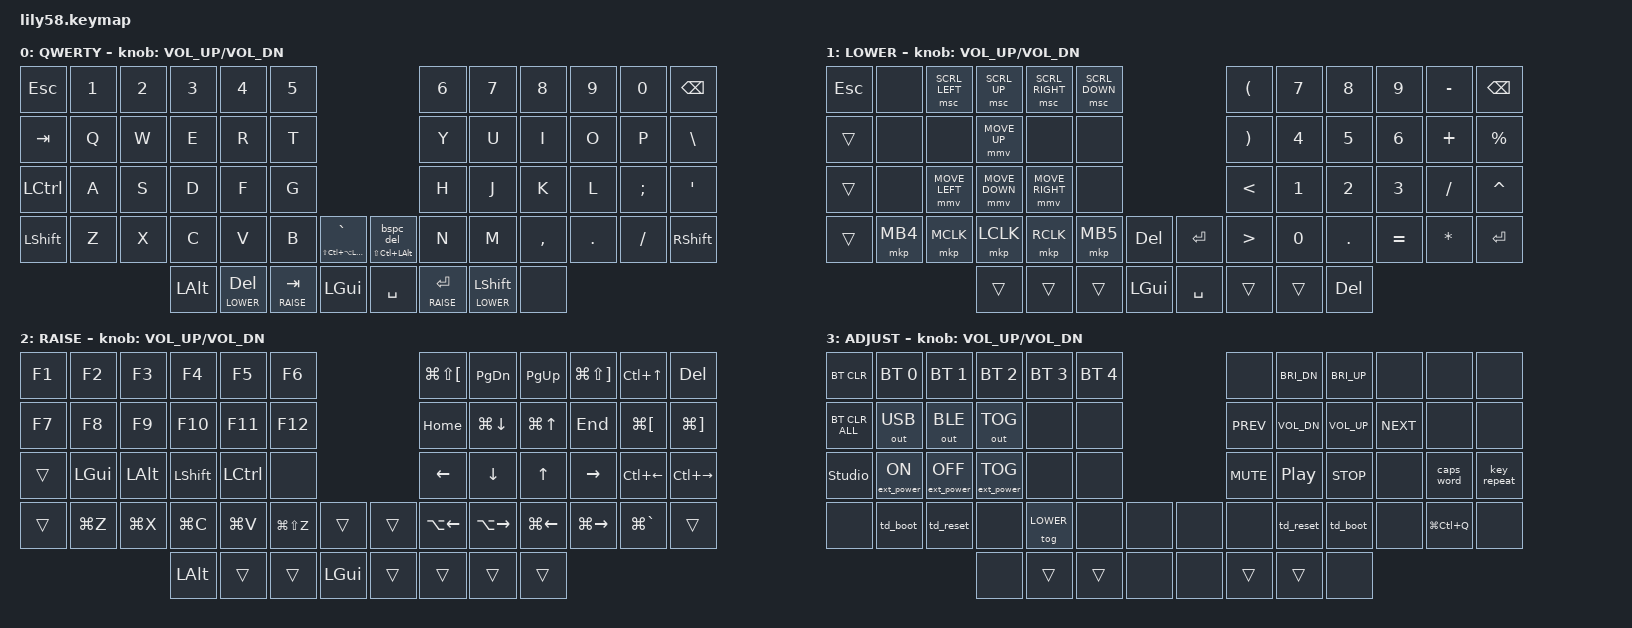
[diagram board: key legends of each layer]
/*
 * Lily58 Pro / nice!nano v2 — ZMK v0.3
 * 4 layers: QWERTY / LOWER (mouse + numpad) / RAISE (F-keys + nav) / ADJUST (tri-layer)
 * macOS oriented, coding + terminal focused.
 *
 * Shared by both halves. config/lily58_left.keymap and config/lily58_right.keymap
 * #include this file and then override &kscan0 for the flipped controller mount.
 * That override swaps GPIO *pads* positionally, so the logical matrix (and every
 * key position below) is unchanged from a normally-mounted board.
 *
 * Thumbs: lower on 51 + 56, raise on 52 + 55, so either hand reaches either
 * layer and adjust is an adjacent two-key roll. 53 (cmd) and 54 (space) stay
 * bare on purpose: a mod-tap on cmd misfires on every aborted cmd-tab, and a
 * hold-tap on space delays the most frequent key on the board.
 *
 * Key positions (used by combos):
 *   left   0..5   12..17  24..29  36..41  42(inner)  50..53(thumbs)
 *   right  6..11  18..23  30..35  43(inner) 44..49    54..57(thumbs)
 */

#include <behaviors.dtsi>
#include <dt-bindings/zmk/keys.h>
#include <dt-bindings/zmk/bt.h>
#include <dt-bindings/zmk/outputs.h>
#include <dt-bindings/zmk/ext_power.h>

/* mouse speed — must be defined BEFORE the pointing include */
#define ZMK_POINTING_DEFAULT_MOVE_VAL 1200
#define ZMK_POINTING_DEFAULT_SCRL_VAL 20
#include <dt-bindings/zmk/pointing.h>

#define QWERTY 0
#define LOWER  1
#define RAISE  2
#define ADJUST 3

#define HYPER LS(LC(LA(LGUI)))
#define MEH   LS(LC(LALT))

/ {
    behaviors {
        /* 3 taps to reflash / reset — stops a fat finger nuking the session */
        td_boot: tap_dance_bootloader {
            compatible = "zmk,behavior-tap-dance";
            #binding-cells = <0>;
            tapping-term-ms = <300>;
            bindings = <&none>, <&none>, <&bootloader>;
        };

        td_reset: tap_dance_reset {
            compatible = "zmk,behavior-tap-dance";
            #binding-cells = <0>;
            tapping-term-ms = <300>;
            bindings = <&none>, <&none>, <&sys_reset>;
        };

        /* layer-tap with a quick-tap window so double-tap-and-hold repeats the tap */
        lt_tuned: layer_tap_tuned {
            compatible = "zmk,behavior-hold-tap";
            #binding-cells = <2>;
            flavor = "balanced";
            tapping-term-ms = <200>;
            quick-tap-ms = <175>;
            bindings = <&mo>, <&kp>;
        };

        /* same, but the tap is a one-shot modifier instead of a keycode.
           &sk is also a real hold, so holding it shifts normally. */
        lt_sticky: layer_tap_sticky {
            compatible = "zmk,behavior-hold-tap";
            #binding-cells = <2>;
            flavor = "balanced";
            tapping-term-ms = <200>;
            quick-tap-ms = <175>;
            bindings = <&mo>, <&sk>;
        };

        /* backspace, or forward-delete when shifted. macOS has no shift+bksp
           binding of its own, so this is the only way to get del off a thumb.
           No keep-mods, so the triggering shift is masked out of the report
           and the host sees a clean DEL. */
        bspc_del: backspace_delete {
            compatible = "zmk,behavior-mod-morph";
            #binding-cells = <0>;
            bindings = <&kp BSPC>, <&kp DEL>;
            mods = <(MOD_LSFT|MOD_RSFT)>;
        };

        /* mod-tap whose tap is the bspc/del morph, so the right inner key
           keeps shift+tap -> DEL. tap-preferred: same-hand key, so the hold
           only fires after the full tapping term. */
        mt_bspc: mod_tap_backspace {
            compatible = "zmk,behavior-hold-tap";
            #binding-cells = <2>;
            flavor = "tap-preferred";
            tapping-term-ms = <200>;
            quick-tap-ms = <175>;
            bindings = <&kp>, <&bspc_del>;
        };
    };

    conditional_layers {
        compatible = "zmk,conditional-layers";
        tri_layer {
            if-layers = <LOWER RAISE>;
            then-layer = <ADJUST>;
        };
    };

    combos {
        compatible = "zmk,combos";

        /* JK -> esc (vim reflex) */
        combo_esc {
            timeout-ms = <45>;
            require-prior-idle-ms = <125>;
            key-positions = <31 32>;
            bindings = <&kp ESC>;
            layers = <QWERTY>;
        };

        /* KL -> -  (shift gives _) */
        combo_minus {
            timeout-ms = <45>;
            require-prior-idle-ms = <125>;
            key-positions = <32 33>;
            bindings = <&kp MINUS>;
            layers = <QWERTY>;
        };

        /* L; -> =  (shift gives +) */
        combo_equal {
            timeout-ms = <45>;
            require-prior-idle-ms = <125>;
            key-positions = <33 34>;
            bindings = <&kp EQUAL>;
            layers = <QWERTY>;
        };

        /* --- bracket combos (adjacent keys, top letter row) ---
           Since E R T Y U I are now plain &kp, these combos are the ONLY way to
           reach ( ) [ ] { } outside the number row.
           Shift is passed through by &kp, so shifted [ ] give { } for free.

           Top-row positions:  12 13 14 15 16 17 | 18 19 20 21 22 23
                              TAB  Q  W  E  R  T |  Y  U  I  O  P  \
           Pairs mirror across the split: 16+17 (RT) mirrors 18+19 (YU),
           15+16 (ER) mirrors 19+20 (UI). */

        /* UI -> [  (shift gives {) */
        combo_lbkt {
            timeout-ms = <45>;
            require-prior-idle-ms = <125>;
            key-positions = <19 20>;
            bindings = <&kp LBKT>;
            layers = <QWERTY>;
        };

        /* OP -> ]  (shift gives }) */
        combo_rbkt {
            timeout-ms = <45>;
            require-prior-idle-ms = <125>;
            key-positions = <21 22>;
            bindings = <&kp RBKT>;
            layers = <QWERTY>;
        };

        /* RT -> ( */
        combo_lpar {
            timeout-ms = <45>;
            require-prior-idle-ms = <125>;
            key-positions = <16 17>;
            bindings = <&kp LPAR>;
            layers = <QWERTY>;
        };

        /* YU -> ) */
        combo_rpar {
            timeout-ms = <45>;
            require-prior-idle-ms = <125>;
            key-positions = <18 19>;
            bindings = <&kp RPAR>;
            layers = <QWERTY>;
        };

        /* ,. -> delete previous word */
        combo_del_word {
            timeout-ms = <45>;
            require-prior-idle-ms = <125>;
            key-positions = <46 47>;
            bindings = <&kp LA(BSPC)>;
            layers = <QWERTY>;
        };

        /* CV -> adjust layer without the two-thumb chord */
        combo_adjust {
            timeout-ms = <50>;
            key-positions = <39 40>;
            bindings = <&mo ADJUST>;
            layers = <QWERTY>;
        };

        /* both shifts -> caps word (SCREAMING_SNAKE_CASE) */
        combo_caps_word {
            timeout-ms = <60>;
            key-positions = <36 49>;
            bindings = <&caps_word>;
            layers = <QWERTY>;
        };
    };

    keymap {
        compatible = "zmk,keymap";

        qwerty_layer {
            display-name = "QWERTY";
            bindings = <
&kp ESC    &kp N1       &kp N2       &kp N3        &kp N4        &kp N5                                    &kp N6        &kp N7        &kp N8        &kp N9        &kp N0            &kp BSPC
&kp TAB    &kp Q        &kp W        &kp E         &kp R         &kp T                                     &kp Y         &kp U         &kp I         &kp O         &kp P             &kp BSLH
&kp LCTRL  &kp A        &kp S        &kp D         &kp F         &kp G                                     &kp H         &kp J         &kp K         &kp L         &kp SEMI          &kp SQT
&kp LSHFT  &kp Z        &kp X        &kp C         &kp V         &kp B       &mt HYPER GRAVE &mt_bspc MEH 0    &kp N         &kp M         &kp COMMA     &kp DOT       &kp FSLH          &kp RSHFT
                                     &kp LALT  &lt_tuned LOWER DEL  &lt_tuned RAISE TAB  &kp LGUI     &kp SPACE  &lt_tuned RAISE RET  &lt_sticky LOWER LSHFT  &none    
            >;
            sensor-bindings = <&inc_dec_kp C_VOL_UP C_VOL_DN>;
        };

        lower_layer {
            display-name = "LOWER";
            bindings = <
&kp ESC    &none        &msc SCRL_LEFT  &msc SCRL_UP     &msc SCRL_RIGHT  &msc SCRL_DOWN                    &kp LPAR      &kp N7        &kp N8        &kp N9        &kp MINUS     &kp BSPC
&trans     &none        &none           &mmv MOVE_UP     &none            &none                             &kp RPAR      &kp N4        &kp N5        &kp N6        &kp PLUS      &kp PRCNT
&trans     &none        &mmv MOVE_LEFT  &mmv MOVE_DOWN   &mmv MOVE_RIGHT  &none                             &kp LT        &kp N1        &kp N2        &kp N3        &kp SLASH     &kp CARET
&trans     &mkp MB4     &mkp MCLK       &mkp LCLK        &mkp RCLK        &mkp MB5    &kp DEL   &kp RET      &kp GT        &kp N0        &kp DOT       &kp EQUAL     &kp ASTRK     &kp RET
                                        &trans           &trans           &trans      &kp LGUI      &kp SPACE     &trans        &trans        &kp DEL
            >;
            sensor-bindings = <&inc_dec_kp C_VOL_UP C_VOL_DN>;
        };

        raise_layer {
            display-name = "RAISE";
            bindings = <
&kp F1     &kp F2       &kp F3       &kp F4        &kp F5        &kp F6                                     &kp LG(LS(LBKT)) &kp PG_DN  &kp PG_UP     &kp LG(LS(RBKT)) &kp LC(UP)  &kp DEL
&kp F7     &kp F8       &kp F9       &kp F10       &kp F11       &kp F12                                    &kp HOME      &kp LG(DOWN)  &kp LG(UP)    &kp END       &kp LG(LBKT)  &kp LG(RBKT)
&trans     &kp LGUI     &kp LALT     &kp LSHFT     &kp LCTRL     &none                                      &kp LEFT      &kp DOWN      &kp UP        &kp RIGHT     &kp LC(LEFT)  &kp LC(RIGHT)
&trans     &kp LG(Z)    &kp LG(X)    &kp LG(C)     &kp LG(V)     &kp LG(LS(Z)) &trans        &trans          &kp LA(LEFT)  &kp LA(RIGHT) &kp LG(LEFT)  &kp LG(RIGHT) &kp LG(GRAVE) &trans
                                     &kp LALT      &trans        &trans        &kp LGUI          &trans        &trans        &trans        &trans
            >;
            sensor-bindings = <&inc_dec_kp C_VOL_UP C_VOL_DN>;
        };

        adjust_layer {
            display-name = "ADJUST";
            bindings = <
&bt BT_CLR      &bt BT_SEL 0      &bt BT_SEL 1       &bt BT_SEL 2       &bt BT_SEL 3  &bt BT_SEL 4                       &none         &kp C_BRI_DN  &kp C_BRI_UP  &none         &none         &none
&bt BT_CLR_ALL  &out OUT_USB      &out OUT_BLE       &out OUT_TOG       &none         &none                              &kp C_PREV    &kp C_VOL_DN  &kp C_VOL_UP  &kp C_NEXT    &none         &none
&studio_unlock  &ext_power EP_ON  &ext_power EP_OFF  &ext_power EP_TOG  &none         &none                              &kp C_MUTE    &kp C_PP      &kp C_STOP    &none         &caps_word    &key_repeat
&none           &td_boot          &td_reset          &none              &tog LOWER    &none         &none     &none      &none         &td_reset     &td_boot      &none         &kp LG(LC(Q)) &none
                                                     &none              &trans        &trans        &none         &none         &trans        &trans        &none
            >;
            sensor-bindings = <&inc_dec_kp C_VOL_UP C_VOL_DN>;
        };
    };
};
